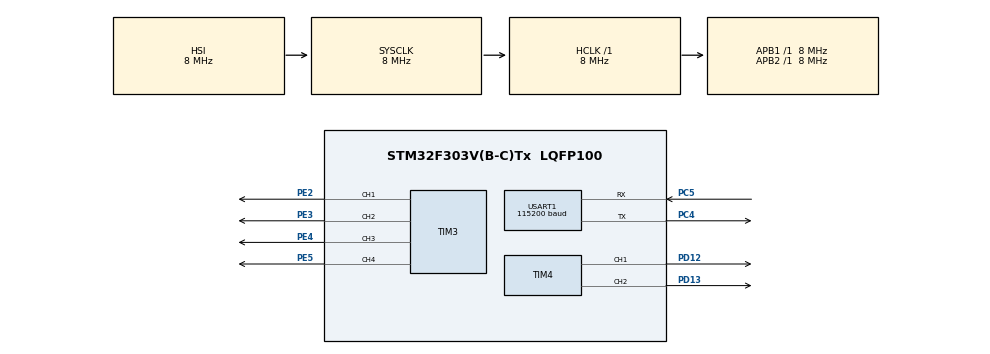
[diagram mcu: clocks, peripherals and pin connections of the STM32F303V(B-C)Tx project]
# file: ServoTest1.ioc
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Mcu.Family=STM32F3
Mcu.Name=STM32F303V(B-C)Tx
Mcu.Package=LQFP100
NVIC.PriorityGroup=NVIC_PRIORITYGROUP_4
PC4.Mode=Asynchronous
PC4.Signal=USART1_TX
PC5.Mode=Asynchronous
PC5.Signal=USART1_RX
PD12.Signal=S_TIM4_CH1
PD13.Signal=S_TIM4_CH2
PE2.Signal=S_TIM3_CH1
PE3.Signal=S_TIM3_CH2
PE4.Signal=S_TIM3_CH3
PE5.Signal=S_TIM3_CH4
ProjectManager.HeapSize=0x200
ProjectManager.StackSize=0x400
ProjectManager.TargetToolchain=STM32CubeIDE
RCC.AHBFreq_Value=8000000
RCC.APB1Freq_Value=8000000
RCC.APB2Freq_Value=8000000
RCC.CortexFreq_Value=8000000
RCC.HSE_VALUE=8000000
RCC.HSI_VALUE=8000000
RCC.LSE_VALUE=32768
RCC.SYSCLKFreq_VALUE=8000000
SH.S_TIM3_CH1.0=TIM3_CH1,PWM Generation1 CH1
SH.S_TIM3_CH2.0=TIM3_CH2,PWM Generation2 CH2
SH.S_TIM3_CH3.0=TIM3_CH3,PWM Generation3 CH3
SH.S_TIM3_CH4.0=TIM3_CH4,PWM Generation4 CH4
SH.S_TIM4_CH1.0=TIM4_CH1,PWM Generation1 CH1
SH.S_TIM4_CH2.0=TIM4_CH2,PWM Generation2 CH2
TIM3.Channel-PWM\ Generation1\ CH1=TIM_CHANNEL_1
TIM3.Channel-PWM\ Generation2\ CH2=TIM_CHANNEL_2
TIM3.Channel-PWM\ Generation3\ CH3=TIM_CHANNEL_3
TIM3.Channel-PWM\ Generation4\ CH4=TIM_CHANNEL_4
TIM4.Channel-PWM\ Generation1\ CH1=TIM_CHANNEL_1
TIM4.Channel-PWM\ Generation2\ CH2=TIM_CHANNEL_2
USART1.BaudRate=115200
USART1.VirtualMode-Asynchronous=VM_ASYNC
board=custom

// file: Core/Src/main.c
/* USER CODE BEGIN Header */
/**
  ******************************************************************************
  * @file           : main.c
  * @brief          : Main program body
  ******************************************************************************
  * @attention
  *
  * Copyright (c) 2025 STMicroelectronics.
  * All rights reserved.
  *
  * This software is licensed under terms that can be found in the LICENSE file
  * in the root directory of this software component.
  * If no LICENSE file comes with this software, it is provided AS-IS.
  *
  ******************************************************************************
  */
/* USER CODE END Header */
#include "main.h"
#include <stdio.h>
#include <string.h>

/* USER CODE BEGIN PD */
#define PWM_PERIOD_TICKS 2000  // 20 ms at 100 kHz
#define PWM_MIN_PULSE 100      // 1 ms (0°)
#define PWM_MAX_PULSE 200      // 2 ms (180°)
#define SWEEP_STEP_MS 15       // Delay per angle step
#define UART_TIMEOUT_MS 10     // UART RX timeout
/* USER CODE END PD */

TIM_HandleTypeDef htim3;
TIM_HandleTypeDef htim4;
UART_HandleTypeDef huart1;

/* USER CODE BEGIN PV */
char txBuffer[100];
/* USER CODE END PV */

void SystemClock_Config(void);
static void MX_GPIO_Init(void);
static void MX_TIM3_Init(void);
static void MX_TIM4_Init(void);
static void MX_USART1_UART_Init(void);
/* USER CODE BEGIN PFP */
void SweepTest(void);
/* USER CODE END PFP */

/* USER CODE BEGIN 0 */
/**
  * @brief Sweep all servos from 0° to 180° and back
  * @retval None
  */
void SweepTest(void)
{
  // Sweep from 0° to 180°
  for (int angle = 0; angle <= 180; angle++)
  {
    // Calculate pulse width (100–200 ticks)
    uint32_t pulse = PWM_MIN_PULSE + (angle * (PWM_MAX_PULSE - PWM_MIN_PULSE) / 180);

    // Set PWM for all servos
    __HAL_TIM_SET_COMPARE(&htim3, TIM_CHANNEL_1, pulse); // Servo 1
    __HAL_TIM_SET_COMPARE(&htim3, TIM_CHANNEL_2, pulse); // Servo 2
    __HAL_TIM_SET_COMPARE(&htim3, TIM_CHANNEL_3, pulse); // Servo 3
    __HAL_TIM_SET_COMPARE(&htim3, TIM_CHANNEL_4, pulse); // Servo 4
    __HAL_TIM_SET_COMPARE(&htim4, TIM_CHANNEL_1, pulse); // Servo 5
    __HAL_TIM_SET_COMPARE(&htim4, TIM_CHANNEL_2, pulse); // Servo 6

    // Debug output every 10°
    if (angle % 10 == 0)
    {
      sprintf(txBuffer, "Servo sweep: angle = %d°\r\n", angle);
      HAL_UART_Transmit(&huart1, (uint8_t*)txBuffer, strlen(txBuffer), HAL_MAX_DELAY);
    }

    HAL_Delay(SWEEP_STEP_MS);
  }

  // Sweep from 180° to 0°
  for (int angle = 180; angle >= 0; angle--)
  {
    uint32_t pulse = PWM_MIN_PULSE + (angle * (PWM_MAX_PULSE - PWM_MIN_PULSE) / 180);

    __HAL_TIM_SET_COMPARE(&htim3, TIM_CHANNEL_1, pulse); // Servo 1
    __HAL_TIM_SET_COMPARE(&htim3, TIM_CHANNEL_2, pulse); // Servo 2
    __HAL_TIM_SET_COMPARE(&htim3, TIM_CHANNEL_3, pulse); // Servo 3
    __HAL_TIM_SET_COMPARE(&htim3, TIM_CHANNEL_4, pulse); // Servo 4
    __HAL_TIM_SET_COMPARE(&htim4, TIM_CHANNEL_1, pulse); // Servo 5
    __HAL_TIM_SET_COMPARE(&htim4, TIM_CHANNEL_2, pulse); // Servo 6

    if (angle % 10 == 0)
    {
      sprintf(txBuffer, "Servo sweep: angle = %d°\r\n", angle);
      HAL_UART_Transmit(&huart1, (uint8_t*)txBuffer, strlen(txBuffer), HAL_MAX_DELAY);
    }

    HAL_Delay(SWEEP_STEP_MS);
  }
}
/* USER CODE END 0 */

int main(void)
{

  /* MCU Configuration--------------------------------------------------------*/

  /* Reset of all peripherals, Initializes the Flash interface and the Systick. */
  HAL_Init();

  /* Configure the system clock */
  SystemClock_Config();

  /* Initialize all configured peripherals */
  MX_GPIO_Init();
  MX_TIM3_Init();
  MX_TIM4_Init();
  MX_USART1_UART_Init();
  /* USER CODE BEGIN 2 */

  // Start PWM for all servo channels
  HAL_TIM_PWM_Start(&htim3, TIM_CHANNEL_1); // Servo 1
  HAL_TIM_PWM_Start(&htim3, TIM_CHANNEL_2); // Servo 2
  HAL_TIM_PWM_Start(&htim3, TIM_CHANNEL_3); // Servo 3
  HAL_TIM_PWM_Start(&htim3, TIM_CHANNEL_4); // Servo 4
  HAL_TIM_PWM_Start(&htim4, TIM_CHANNEL_1); // Servo 5
  HAL_TIM_PWM_Start(&htim4, TIM_CHANNEL_2); // Servo 6

  // Send startup message
  sprintf(txBuffer, "Servo Control Started\r\n");
  HAL_UART_Transmit(&huart1, (uint8_t*)txBuffer, strlen(txBuffer), HAL_MAX_DELAY);

  /* USER CODE END 2 */

  /* Infinite loop */
  while (1)
  {

    /* USER CODE BEGIN 3 */
    SweepTest();
  }
  /* USER CODE END 3 */
}

void SystemClock_Config(void)
{
  RCC_OscInitTypeDef RCC_OscInitStruct = {0};
  RCC_ClkInitTypeDef RCC_ClkInitStruct = {0};
  RCC_PeriphCLKInitTypeDef PeriphClkInit = {0};

  /** Initializes the RCC Oscillators according to the specified parameters
  * in the RCC_OscInitTypeDef structure.
  */
  RCC_OscInitStruct.OscillatorType = RCC_OSCILLATORTYPE_HSI;
  RCC_OscInitStruct.HSIState = RCC_HSI_ON;
  RCC_OscInitStruct.HSICalibrationValue = RCC_HSICALIBRATION_DEFAULT;
  RCC_OscInitStruct.PLL.PLLState = RCC_PLL_NONE;
  if (HAL_RCC_OscConfig(&RCC_OscInitStruct) != HAL_OK)
  {
    Error_Handler();
  }

  /** Initializes the CPU, AHB and APB buses clocks
  */
  RCC_ClkInitStruct.ClockType = RCC_CLOCKTYPE_HCLK|RCC_CLOCKTYPE_SYSCLK
                              |RCC_CLOCKTYPE_PCLK1|RCC_CLOCKTYPE_PCLK2;
  RCC_ClkInitStruct.SYSCLKSource = RCC_SYSCLKSOURCE_HSI;
  RCC_ClkInitStruct.AHBCLKDivider = RCC_SYSCLK_DIV1;
  RCC_ClkInitStruct.APB1CLKDivider = RCC_HCLK_DIV1;
  RCC_ClkInitStruct.APB2CLKDivider = RCC_HCLK_DIV1;

  if (HAL_RCC_ClockConfig(&RCC_ClkInitStruct, FLASH_LATENCY_0) != HAL_OK)
  {
    Error_Handler();
  }
  PeriphClkInit.PeriphClockSelection = RCC_PERIPHCLK_USART1;
  PeriphClkInit.Usart1ClockSelection = RCC_USART1CLKSOURCE_PCLK2;
  if (HAL_RCCEx_PeriphCLKConfig(&PeriphClkInit) != HAL_OK)
  {
    Error_Handler();
  }
}

static void MX_TIM3_Init(void)
{

  TIM_MasterConfigTypeDef sMasterConfig = {0};
  TIM_OC_InitTypeDef sConfigOC = {0};

  htim3.Instance = TIM3;
  htim3.Init.Prescaler = 79; // 8 MHz / 80 = 100 kHz
  htim3.Init.CounterMode = TIM_COUNTERMODE_UP;
  htim3.Init.Period = PWM_PERIOD_TICKS - 1; // 20 ms
  htim3.Init.ClockDivision = TIM_CLOCKDIVISION_DIV1;
  htim3.Init.AutoReloadPreload = TIM_AUTORELOAD_PRELOAD_ENABLE;
  if (HAL_TIM_PWM_Init(&htim3) != HAL_OK)
  {
    Error_Handler();
  }
  sMasterConfig.MasterOutputTrigger = TIM_TRGO_RESET;
  sMasterConfig.MasterSlaveMode = TIM_MASTERSLAVEMODE_DISABLE;
  if (HAL_TIMEx_MasterConfigSynchronization(&htim3, &sMasterConfig) != HAL_OK)
  {
    Error_Handler();
  }
  sConfigOC.OCMode = TIM_OCMODE_PWM1;
  sConfigOC.Pulse = 0;
  sConfigOC.OCPolarity = TIM_OCPOLARITY_HIGH;
  sConfigOC.OCFastMode = TIM_OCFAST_DISABLE;
  if (HAL_TIM_PWM_ConfigChannel(&htim3, &sConfigOC, TIM_CHANNEL_1) != HAL_OK)
  {
    Error_Handler();
  }
  if (HAL_TIM_PWM_ConfigChannel(&htim3, &sConfigOC, TIM_CHANNEL_2) != HAL_OK)
  {
    Error_Handler();
  }
  if (HAL_TIM_PWM_ConfigChannel(&htim3, &sConfigOC, TIM_CHANNEL_3) != HAL_OK)
  {
    Error_Handler();
  }
  if (HAL_TIM_PWM_ConfigChannel(&htim3, &sConfigOC, TIM_CHANNEL_4) != HAL_OK)
  {
    Error_Handler();
  }
  HAL_TIM_MspPostInit(&htim3);
}

static void MX_TIM4_Init(void)
{

  TIM_MasterConfigTypeDef sMasterConfig = {0};
  TIM_OC_InitTypeDef sConfigOC = {0};

  htim4.Instance = TIM4;
  htim4.Init.Prescaler = 79; // 8 MHz / 80 = 100 kHz
  htim4.Init.CounterMode = TIM_COUNTERMODE_UP;
  htim4.Init.Period = PWM_PERIOD_TICKS - 1; // 20 ms
  htim4.Init.ClockDivision = TIM_CLOCKDIVISION_DIV1;
  htim4.Init.AutoReloadPreload = TIM_AUTORELOAD_PRELOAD_ENABLE;
  if (HAL_TIM_PWM_Init(&htim4) != HAL_OK)
  {
    Error_Handler();
  }
  sMasterConfig.MasterOutputTrigger = TIM_TRGO_RESET;
  sMasterConfig.MasterSlaveMode = TIM_MASTERSLAVEMODE_DISABLE;
  if (HAL_TIMEx_MasterConfigSynchronization(&htim4, &sMasterConfig) != HAL_OK)
  {
    Error_Handler();
  }
  sConfigOC.OCMode = TIM_OCMODE_PWM1;
  sConfigOC.Pulse = 0;
  sConfigOC.OCPolarity = TIM_OCPOLARITY_HIGH;
  sConfigOC.OCFastMode = TIM_OCFAST_DISABLE;
  if (HAL_TIM_PWM_ConfigChannel(&htim4, &sConfigOC, TIM_CHANNEL_1) != HAL_OK)
  {
    Error_Handler();
  }
  if (HAL_TIM_PWM_ConfigChannel(&htim4, &sConfigOC, TIM_CHANNEL_2) != HAL_OK)
  {
    Error_Handler();
  }
  HAL_TIM_MspPostInit(&htim4);
}

static void MX_USART1_UART_Init(void)
{

  huart1.Instance = USART1;
  huart1.Init.BaudRate = 115200;
  huart1.Init.WordLength = UART_WORDLENGTH_8B;
  huart1.Init.StopBits = UART_STOPBITS_1;
  huart1.Init.Parity = UART_PARITY_NONE;
  huart1.Init.Mode = UART_MODE_TX_RX;
  huart1.Init.HwFlowCtl = UART_HWCONTROL_NONE;
  huart1.Init.OverSampling = UART_OVERSAMPLING_16;
  huart1.Init.OneBitSampling = UART_ONE_BIT_SAMPLE_DISABLE;
  huart1.AdvancedInit.AdvFeatureInit = UART_ADVFEATURE_NO_INIT;
  if (HAL_UART_Init(&huart1) != HAL_OK)
  {
    Error_Handler();
  }
}

static void MX_GPIO_Init(void)
{
  GPIO_InitTypeDef GPIO_InitStruct = {0};

  /* GPIO Ports Clock Enable */
  __HAL_RCC_GPIOE_CLK_ENABLE();
  __HAL_RCC_GPIOC_CLK_ENABLE();
  __HAL_RCC_GPIOD_CLK_ENABLE();

  /* Configure PE2, PE3, PE4, PE5 for TIM3_CH1–4 (Servos 1–4) */
  GPIO_InitStruct.Pin = GPIO_PIN_2 | GPIO_PIN_3 | GPIO_PIN_4 | GPIO_PIN_5;
  GPIO_InitStruct.Mode = GPIO_MODE_AF_PP;
  GPIO_InitStruct.Pull = GPIO_NOPULL;
  GPIO_InitStruct.Speed = GPIO_SPEED_FREQ_LOW;
  GPIO_InitStruct.Alternate = GPIO_AF2_TIM3;
  HAL_GPIO_Init(GPIOE, &GPIO_InitStruct);

  /* Configure PD12, PD13 for TIM4_CH1–2 (Servos 5–6) */
  GPIO_InitStruct.Pin = GPIO_PIN_12 | GPIO_PIN_13;
  GPIO_InitStruct.Mode = GPIO_MODE_AF_PP;
  GPIO_InitStruct.Pull = GPIO_NOPULL;
  GPIO_InitStruct.Speed = GPIO_SPEED_FREQ_LOW;
  GPIO_InitStruct.Alternate = GPIO_AF2_TIM4;
  HAL_GPIO_Init(GPIOD, &GPIO_InitStruct);

  /* Configure PC4 (TX), PC5 (RX) for USART1 */
  GPIO_InitStruct.Pin = GPIO_PIN_4 | GPIO_PIN_5;
  GPIO_InitStruct.Mode = GPIO_MODE_AF_PP;
  GPIO_InitStruct.Pull = GPIO_NOPULL;
  GPIO_InitStruct.Speed = GPIO_SPEED_FREQ_HIGH;
  GPIO_InitStruct.Alternate = GPIO_AF7_USART1;
  HAL_GPIO_Init(GPIOC, &GPIO_InitStruct);

}

void Error_Handler(void)
{
  __disable_irq();
  while (1)
  {
  }
}
